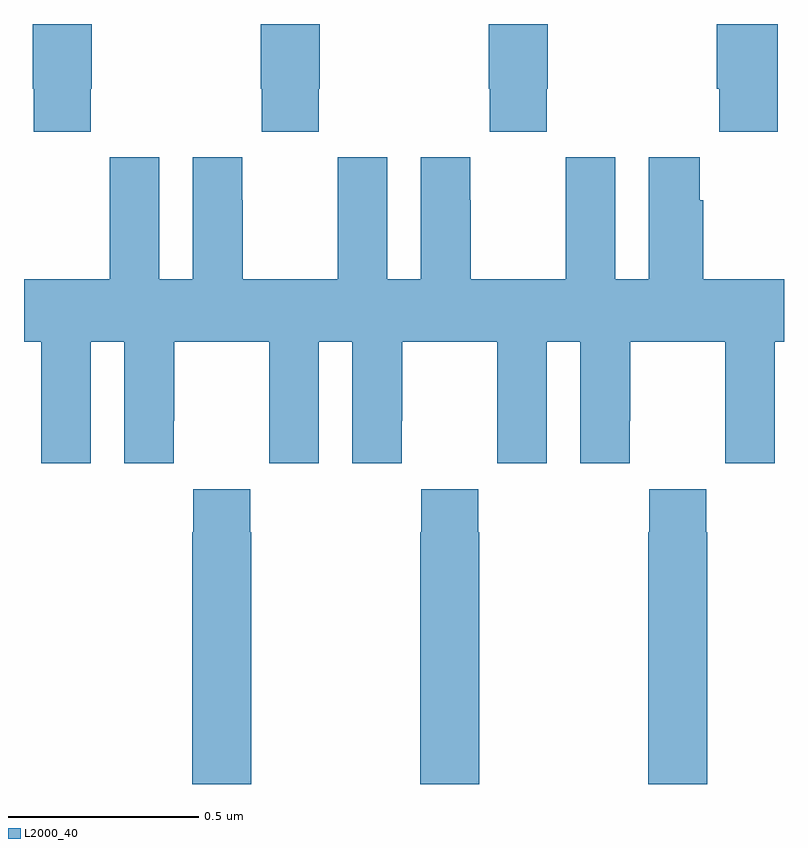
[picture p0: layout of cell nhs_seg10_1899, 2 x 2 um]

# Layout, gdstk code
import gdstk
lib = gdstk.Library(unit=1e-6, precision=1e-09)
def P(c, l, *ps):  # polygons
    for p in ps: c.add(gdstk.Polygon(p, *l))
L2000_40 = (2000, 40)

nhs_seg10_1899 = lib.new_cell('nhs_seg10_1899')
P(nhs_seg10_1899, L2000_40, [(135.983,1286.5),(135.823,1286.5),(135.823,1286.329),(135.829,1286.329),(135.829,1286.217),(135.983,1286.217)],
  [(135.375,1286.329),(135.378,1286.329),(135.378,1286.5),(135.223,1286.5),(135.223,1286.329),(135.225,1286.329),(135.225,1286.217),(135.375,1286.217)],
  [(134.775,1286.329),(134.778,1286.329),(134.778,1286.5),(134.623,1286.5),(134.623,1286.329),(134.625,1286.329),(134.625,1286.217),(134.775,1286.217)],
  [(134.175,1286.329),(134.178,1286.329),(134.178,1286.5),(134.023,1286.5),(134.023,1286.329),(134.025,1286.329),(134.025,1286.217),(134.175,1286.217)],
  [(134.176,1285.664),(134.264,1285.664),(134.264,1285.344),(134.394,1285.344),(134.394,1285.456),(134.395,1285.456),(134.395,1285.664),(134.645,1285.664),(134.645,1285.456),(134.646,1285.456),(134.646,1285.344),(134.776,1285.344),(134.776,1285.664),(134.864,1285.664),(134.864,1285.344),(134.994,1285.344),(134.994,1285.456),(134.995,1285.456),(134.995,1285.664),(135.245,1285.664),(135.245,1285.456),(135.246,1285.456),(135.246,1285.344),(135.376,1285.344),(135.376,1285.664),(135.464,1285.664),(135.464,1285.344),(135.594,1285.344),(135.594,1285.456),(135.595,1285.456),(135.595,1285.664),(135.845,1285.664),(135.845,1285.456),(135.846,1285.456),(135.846,1285.344),(135.976,1285.344),(135.976,1285.664),(136,1285.664),(136,1285.828),(135.788,1285.828),(135.788,1286.036),(135.778,1286.036),(135.778,1286.149),(135.644,1286.149),(135.644,1285.828),(135.556,1285.828),(135.556,1286.149),(135.426,1286.149),(135.426,1286.036),(135.425,1286.036),(135.425,1285.828),(135.175,1285.828),(135.175,1286.036),(135.174,1286.036),(135.174,1286.149),(135.044,1286.149),(135.044,1285.828),(134.956,1285.828),(134.956,1286.149),(134.826,1286.149),(134.826,1286.036),(134.825,1286.036),(134.825,1285.828),(134.575,1285.828),(134.575,1286.036),(134.574,1286.036),(134.574,1286.149),(134.444,1286.149),(134.444,1285.828),(134.356,1285.828),(134.356,1286.149),(134.226,1286.149),(134.226,1286.036),(134.225,1286.036),(134.225,1285.828),(134,1285.828),(134,1285.664),(134.045,1285.664),(134.045,1285.456),(134.046,1285.456),(134.046,1285.344),(134.176,1285.344)],
  [(135.198,1285.163),(135.195,1285.163),(135.195,1285.276),(135.045,1285.276),(135.045,1285.163),(135.043,1285.163),(135.043,1284.5),(135.198,1284.5)],
  [(135.798,1285.163),(135.795,1285.163),(135.795,1285.276),(135.645,1285.276),(135.645,1285.163),(135.643,1285.163),(135.643,1284.5),(135.798,1284.5)],
  [(134.598,1285.163),(134.595,1285.163),(134.595,1285.276),(134.445,1285.276),(134.445,1285.163),(134.443,1285.163),(134.443,1284.5),(134.598,1284.5)])

lib.write_gds('nhs_seg10_1899.gds')
